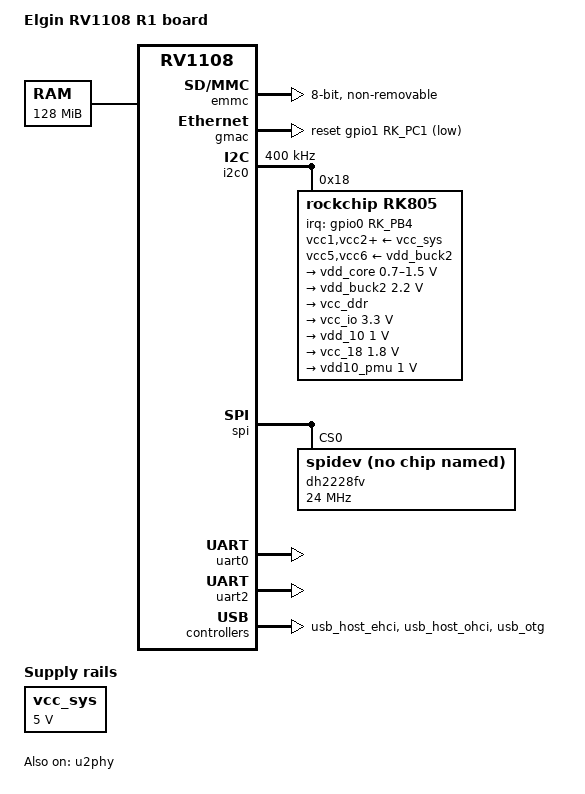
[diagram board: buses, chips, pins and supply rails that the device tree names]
// SPDX-License-Identifier: (GPL-2.0+ OR MIT)

/*
 * Copyright (C) 2018 O.S. Systems Software LTDA.
 */

/dts-v1/;

#include "rv1108.dtsi"

/ {
	model = "Elgin RV1108 R1 board";
	compatible = "elgin,rv1108-r1", "rockchip,rv1108";

	aliases {
		mmc0 = &emmc;
	};

	memory@60000000 {
		device_type = "memory";
		reg = <0x60000000 0x08000000>;
	};

	chosen {
		stdout-path = "serial2:1500000n8";
	};

	vcc_sys: vsys-regulator {
		compatible = "regulator-fixed";
		regulator-name = "vsys";
		regulator-min-microvolt = <5000000>;
		regulator-max-microvolt = <5000000>;
		regulator-boot-on;
	};
};

&cpu0 {
	cpu-supply = <&vdd_core>;
};

&emmc {
	bus-width = <8>;
	cap-mmc-highspeed;
	no-sd;
	no-sdio;
	non-removable;
	mmc-ddr-1_8v;
	mmc-hs200-1_8v;
	pinctrl-names = "default";
	pinctrl-0 = <&emmc_clk &emmc_cmd &emmc_bus8>;
	status = "okay";
};

&gmac {
	clock_in_out = "output";
	pinctrl-names = "default";
	pinctrl-0 = <&rmii_pins>;
	snps,reset-gpio = <&gpio1 RK_PC1 GPIO_ACTIVE_LOW>;
	snps,reset-active-low;
	status = "okay";
};

&i2c0 {
	clock-frequency = <400000>;
	i2c-scl-rising-time-ns = <275>;
	i2c-scl-falling-time-ns = <16>;
	status = "okay";

	rk805: pmic@18 {
		compatible = "rockchip,rk805";
		reg = <0x18>;
		interrupt-parent = <&gpio0>;
		interrupts = <RK_PB4 IRQ_TYPE_LEVEL_LOW>;
		rockchip,system-power-controller;
		#clock-cells = <0>;

		vcc1-supply = <&vcc_sys>;
		vcc2-supply = <&vcc_sys>;
		vcc3-supply = <&vcc_sys>;
		vcc4-supply = <&vcc_sys>;
		vcc5-supply = <&vdd_buck2>;
		vcc6-supply = <&vdd_buck2>;

		regulators {
			vdd_core: DCDC_REG1 {
				regulator-name= "vdd_core";
				regulator-min-microvolt = <700000>;
				regulator-max-microvolt = <1500000>;
				regulator-always-on;
				regulator-boot-on;
				regulator-state-mem {
					regulator-on-in-suspend;
					regulator-suspend-microvolt = <900000>;
				};
			};

			vdd_buck2: DCDC_REG2 {
				regulator-name= "vdd_buck2";
				regulator-min-microvolt = <2200000>;
				regulator-max-microvolt = <2200000>;
				regulator-always-on;
				regulator-boot-on;
				regulator-state-mem {
					regulator-off-in-suspend;
				};
			};

			vcc_ddr: DCDC_REG3 {
				regulator-name= "vcc_ddr";
				regulator-always-on;
				regulator-boot-on;
				regulator-state-mem {
					regulator-on-in-suspend;
				};
			};

			vcc_io: DCDC_REG4 {
				regulator-name= "vcc_io";
				regulator-min-microvolt = <3300000>;
				regulator-max-microvolt = <3300000>;
				regulator-always-on;
				regulator-boot-on;
				regulator-state-mem {
					regulator-on-in-suspend;
					regulator-suspend-microvolt = <3300000>;
				};
			};

			vdd_10: LDO_REG1 {
				regulator-name= "vdd_10";
				regulator-min-microvolt = <1000000>;
				regulator-max-microvolt = <1000000>;
				regulator-always-on;
				regulator-boot-on;
				regulator-state-mem {
					regulator-off-in-suspend;
				};
			};

			vcc_18: LDO_REG2 {
				regulator-name= "vcc_18";
				regulator-min-microvolt = <1800000>;
				regulator-max-microvolt = <1800000>;
				regulator-always-on;
				regulator-boot-on;
				regulator-state-mem {
					regulator-off-in-suspend;
				};
			};

			vdd10_pmu: LDO_REG3 {
				regulator-name= "vdd10_pmu";
				regulator-min-microvolt = <1000000>;
				regulator-max-microvolt = <1000000>;
				regulator-always-on;
				regulator-boot-on;
				regulator-state-mem {
					regulator-on-in-suspend;
					regulator-suspend-microvolt = <1000000>;
				};
			};
		};
	};
};

&spi {
	pinctrl-names = "default";
	pinctrl-0 = <&spim1_clk &spim1_cs0 &spim1_tx &spim1_rx>;
	status = "okay";

	dh2228fv: dac@0 {
		compatible = "rohm,dh2228fv";
		reg = <0>;
		spi-max-frequency = <24000000>;
		spi-cpha;
		spi-cpol;
	};
};

&u2phy {
	status = "okay";

	u2phy_host: host-port {
		status = "okay";
	};

	u2phy_otg: otg-port {
		status = "okay";
	};
};

&uart0 {
	pinctrl-names = "default";
	pinctrl-0 = <&uart0_xfer>;
	status = "okay";
};

&uart2 {
	status = "okay";
};

&usb_host_ehci {
	status = "okay";
};

&usb_host_ohci {
	status = "okay";
};

&usb_otg {
	status = "okay";
};
